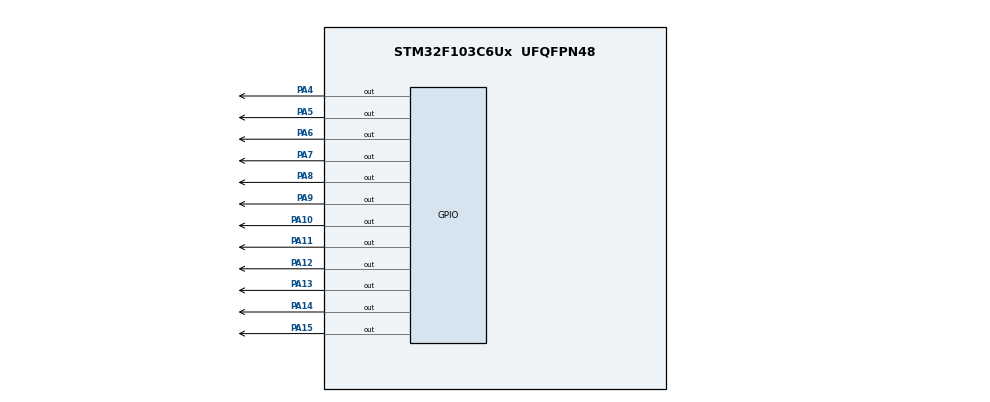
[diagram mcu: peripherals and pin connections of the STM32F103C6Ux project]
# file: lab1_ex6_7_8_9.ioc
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Mcu.Family=STM32F1
Mcu.Name=STM32F103C6Ux
Mcu.Package=UFQFPN48
NVIC.PriorityGroup=NVIC_PRIORITYGROUP_4
PA10.Signal=GPIO_Output
PA11.Signal=GPIO_Output
PA12.Signal=GPIO_Output
PA13.Signal=GPIO_Output
PA14.Signal=GPIO_Output
PA15.Signal=GPIO_Output
PA4.Signal=GPIO_Output
PA5.Signal=GPIO_Output
PA6.Signal=GPIO_Output
PA7.Signal=GPIO_Output
PA8.Signal=GPIO_Output
PA9.Signal=GPIO_Output
ProjectManager.HeapSize=0x200
ProjectManager.StackSize=0x400
ProjectManager.TargetToolchain=STM32CubeIDE
RCC.APB1Freq_Value=8000000
RCC.APB2Freq_Value=8000000
VP_SYS_VS_ND.Mode=No_Debug
board=custom

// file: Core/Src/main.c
/* USER CODE BEGIN Header */
/**
  ******************************************************************************
  * @file           : main.c
  * @brief          : Main program body
  ******************************************************************************
  * @attention
  *
  * <h2><center>&copy; Copyright (c) 2023 STMicroelectronics.
  * All rights reserved.</center></h2>
  *
  * This software component is licensed by ST under BSD 3-Clause license,
  * the "License"; You may not use this file except in compliance with the
  * License. You may obtain a copy of the License at:
  *                        opensource.org/licenses/BSD-3-Clause
  *
  ******************************************************************************
  */
/* USER CODE END Header */
#include "main.h"

void SystemClock_Config(void);
static void MX_GPIO_Init(void);
void analogClock(int num);
void clearAllClock(void);
void setNumberOnClock(int num);
void clearNumberOnClock(int num);

int main(void)
{

  /* MCU Configuration--------------------------------------------------------*/

  /* Reset of all peripherals, Initializes the Flash interface and the Systick. */
  HAL_Init();

  /* Configure the system clock */
  SystemClock_Config();

  /* Initialize all configured peripherals */
  MX_GPIO_Init();
  /* Infinite loop */
  /* USER CODE BEGIN WHILE */
  int hour = 0;
  while (1)
  {
    /* USER CODE END WHILE */
	  setNumberOnClock(hour++);
	  if(hour >= 12){
		  hour = 0;
	  }
	  HAL_Delay(1000);
  }
}

void SystemClock_Config(void)
{
  RCC_OscInitTypeDef RCC_OscInitStruct = {0};
  RCC_ClkInitTypeDef RCC_ClkInitStruct = {0};

  /** Initializes the RCC Oscillators according to the specified parameters
  * in the RCC_OscInitTypeDef structure.
  */
  RCC_OscInitStruct.OscillatorType = RCC_OSCILLATORTYPE_HSI;
  RCC_OscInitStruct.HSIState = RCC_HSI_ON;
  RCC_OscInitStruct.HSICalibrationValue = RCC_HSICALIBRATION_DEFAULT;
  RCC_OscInitStruct.PLL.PLLState = RCC_PLL_NONE;
  if (HAL_RCC_OscConfig(&RCC_OscInitStruct) != HAL_OK)
  {
    Error_Handler();
  }
  /** Initializes the CPU, AHB and APB buses clocks
  */
  RCC_ClkInitStruct.ClockType = RCC_CLOCKTYPE_HCLK|RCC_CLOCKTYPE_SYSCLK
                              |RCC_CLOCKTYPE_PCLK1|RCC_CLOCKTYPE_PCLK2;
  RCC_ClkInitStruct.SYSCLKSource = RCC_SYSCLKSOURCE_HSI;
  RCC_ClkInitStruct.AHBCLKDivider = RCC_SYSCLK_DIV1;
  RCC_ClkInitStruct.APB1CLKDivider = RCC_HCLK_DIV1;
  RCC_ClkInitStruct.APB2CLKDivider = RCC_HCLK_DIV1;

  if (HAL_RCC_ClockConfig(&RCC_ClkInitStruct, FLASH_LATENCY_0) != HAL_OK)
  {
    Error_Handler();
  }
}

static void MX_GPIO_Init(void)
{
  GPIO_InitTypeDef GPIO_InitStruct = {0};

  /* GPIO Ports Clock Enable */
  __HAL_RCC_GPIOA_CLK_ENABLE();

  /*Configure GPIO pin Output Level */
  HAL_GPIO_WritePin(GPIOA, GPIO_PIN_4|GPIO_PIN_5|GPIO_PIN_6|GPIO_PIN_7
                          |GPIO_PIN_8|GPIO_PIN_9|GPIO_PIN_10|GPIO_PIN_11
                          |GPIO_PIN_12|GPIO_PIN_13|GPIO_PIN_14|GPIO_PIN_15, GPIO_PIN_RESET);

  /*Configure GPIO pins : PA4 PA5 PA6 PA7
                           PA8 PA9 PA10 PA11
                           PA12 PA13 PA14 PA15 */
  GPIO_InitStruct.Pin = GPIO_PIN_4|GPIO_PIN_5|GPIO_PIN_6|GPIO_PIN_7
                          |GPIO_PIN_8|GPIO_PIN_9|GPIO_PIN_10|GPIO_PIN_11
                          |GPIO_PIN_12|GPIO_PIN_13|GPIO_PIN_14|GPIO_PIN_15;
  GPIO_InitStruct.Mode = GPIO_MODE_OUTPUT_PP;
  GPIO_InitStruct.Pull = GPIO_NOPULL;
  GPIO_InitStruct.Speed = GPIO_SPEED_FREQ_LOW;
  HAL_GPIO_Init(GPIOA, &GPIO_InitStruct);

}

/* USER CODE BEGIN 4 */
void analogClock(int num){
	switch(num){
		case 0:
			HAL_GPIO_WritePin(GPIOA, GPIO_PIN_4, RESET);
			HAL_GPIO_WritePin(GPIOA, GPIO_PIN_5, SET);
			HAL_GPIO_WritePin(GPIOA, GPIO_PIN_6, SET);
			HAL_GPIO_WritePin(GPIOA, GPIO_PIN_7, SET);
			HAL_GPIO_WritePin(GPIOA, GPIO_PIN_8, SET);
			HAL_GPIO_WritePin(GPIOA, GPIO_PIN_9, SET);
			HAL_GPIO_WritePin(GPIOA, GPIO_PIN_10, SET);
			HAL_GPIO_WritePin(GPIOA, GPIO_PIN_11, SET);
			HAL_GPIO_WritePin(GPIOA, GPIO_PIN_12, SET);
			HAL_GPIO_WritePin(GPIOA, GPIO_PIN_13, SET);
			HAL_GPIO_WritePin(GPIOA, GPIO_PIN_14, SET);
			HAL_GPIO_WritePin(GPIOA, GPIO_PIN_15, SET);
			break;
		case 1:
			HAL_GPIO_WritePin(GPIOA, GPIO_PIN_4, SET);
			HAL_GPIO_WritePin(GPIOA, GPIO_PIN_5, RESET);
			HAL_GPIO_WritePin(GPIOA, GPIO_PIN_6, SET);
			HAL_GPIO_WritePin(GPIOA, GPIO_PIN_7, SET);
			HAL_GPIO_WritePin(GPIOA, GPIO_PIN_8, SET);
			HAL_GPIO_WritePin(GPIOA, GPIO_PIN_9, SET);
			HAL_GPIO_WritePin(GPIOA, GPIO_PIN_10, SET);
			HAL_GPIO_WritePin(GPIOA, GPIO_PIN_11, SET);
			HAL_GPIO_WritePin(GPIOA, GPIO_PIN_12, SET);
			HAL_GPIO_WritePin(GPIOA, GPIO_PIN_13, SET);
			HAL_GPIO_WritePin(GPIOA, GPIO_PIN_14, SET);
			HAL_GPIO_WritePin(GPIOA, GPIO_PIN_15, SET);
			break;
		case 2:
			HAL_GPIO_WritePin(GPIOA, GPIO_PIN_4, SET);
			HAL_GPIO_WritePin(GPIOA, GPIO_PIN_5, SET);
			HAL_GPIO_WritePin(GPIOA, GPIO_PIN_6, RESET);
			HAL_GPIO_WritePin(GPIOA, GPIO_PIN_7, SET);
			HAL_GPIO_WritePin(GPIOA, GPIO_PIN_8, SET);
			HAL_GPIO_WritePin(GPIOA, GPIO_PIN_9, SET);
			HAL_GPIO_WritePin(GPIOA, GPIO_PIN_10, SET);
			HAL_GPIO_WritePin(GPIOA, GPIO_PIN_11, SET);
			HAL_GPIO_WritePin(GPIOA, GPIO_PIN_12, SET);
			HAL_GPIO_WritePin(GPIOA, GPIO_PIN_13, SET);
			HAL_GPIO_WritePin(GPIOA, GPIO_PIN_14, SET);
			HAL_GPIO_WritePin(GPIOA, GPIO_PIN_15, SET);
			break;
		case 3:
			HAL_GPIO_WritePin(GPIOA, GPIO_PIN_4, SET);
			HAL_GPIO_WritePin(GPIOA, GPIO_PIN_5, SET);
			HAL_GPIO_WritePin(GPIOA, GPIO_PIN_6, SET);
			HAL_GPIO_WritePin(GPIOA, GPIO_PIN_7, RESET);
			HAL_GPIO_WritePin(GPIOA, GPIO_PIN_8, SET);
			HAL_GPIO_WritePin(GPIOA, GPIO_PIN_9, SET);
			HAL_GPIO_WritePin(GPIOA, GPIO_PIN_10, SET);
			HAL_GPIO_WritePin(GPIOA, GPIO_PIN_11, SET);
			HAL_GPIO_WritePin(GPIOA, GPIO_PIN_12, SET);
			HAL_GPIO_WritePin(GPIOA, GPIO_PIN_13, SET);
			HAL_GPIO_WritePin(GPIOA, GPIO_PIN_14, SET);
			HAL_GPIO_WritePin(GPIOA, GPIO_PIN_15, SET);
			break;
		case 4:
			HAL_GPIO_WritePin(GPIOA, GPIO_PIN_4, SET);
			HAL_GPIO_WritePin(GPIOA, GPIO_PIN_5, SET);
			HAL_GPIO_WritePin(GPIOA, GPIO_PIN_6, SET);
			HAL_GPIO_WritePin(GPIOA, GPIO_PIN_7, SET);
			HAL_GPIO_WritePin(GPIOA, GPIO_PIN_8, RESET);
			HAL_GPIO_WritePin(GPIOA, GPIO_PIN_9, SET);
			HAL_GPIO_WritePin(GPIOA, GPIO_PIN_10, SET);
			HAL_GPIO_WritePin(GPIOA, GPIO_PIN_11, SET);
			HAL_GPIO_WritePin(GPIOA, GPIO_PIN_12, SET);
			HAL_GPIO_WritePin(GPIOA, GPIO_PIN_13, SET);
			HAL_GPIO_WritePin(GPIOA, GPIO_PIN_14, SET);
			HAL_GPIO_WritePin(GPIOA, GPIO_PIN_15, SET);
			break;
		case 5:
			HAL_GPIO_WritePin(GPIOA, GPIO_PIN_4, SET);
			HAL_GPIO_WritePin(GPIOA, GPIO_PIN_5, SET);
			HAL_GPIO_WritePin(GPIOA, GPIO_PIN_6, SET);
			HAL_GPIO_WritePin(GPIOA, GPIO_PIN_7, SET);
			HAL_GPIO_WritePin(GPIOA, GPIO_PIN_8, SET);
			HAL_GPIO_WritePin(GPIOA, GPIO_PIN_9, RESET);
			HAL_GPIO_WritePin(GPIOA, GPIO_PIN_10, SET);
			HAL_GPIO_WritePin(GPIOA, GPIO_PIN_11, SET);
			HAL_GPIO_WritePin(GPIOA, GPIO_PIN_12, SET);
			HAL_GPIO_WritePin(GPIOA, GPIO_PIN_13, SET);
			HAL_GPIO_WritePin(GPIOA, GPIO_PIN_14, SET);
			HAL_GPIO_WritePin(GPIOA, GPIO_PIN_15, SET);
			break;
		case 6:
			HAL_GPIO_WritePin(GPIOA, GPIO_PIN_4, SET);
			HAL_GPIO_WritePin(GPIOA, GPIO_PIN_5, SET);
			HAL_GPIO_WritePin(GPIOA, GPIO_PIN_6, SET);
			HAL_GPIO_WritePin(GPIOA, GPIO_PIN_7, SET);
			HAL_GPIO_WritePin(GPIOA, GPIO_PIN_8, SET);
			HAL_GPIO_WritePin(GPIOA, GPIO_PIN_9, SET);
			HAL_GPIO_WritePin(GPIOA, GPIO_PIN_10, RESET);
			HAL_GPIO_WritePin(GPIOA, GPIO_PIN_11, SET);
			HAL_GPIO_WritePin(GPIOA, GPIO_PIN_12, SET);
			HAL_GPIO_WritePin(GPIOA, GPIO_PIN_13, SET);
			HAL_GPIO_WritePin(GPIOA, GPIO_PIN_14, SET);
			HAL_GPIO_WritePin(GPIOA, GPIO_PIN_15, SET);
			break;
		case 7:
			HAL_GPIO_WritePin(GPIOA, GPIO_PIN_4, SET);
			HAL_GPIO_WritePin(GPIOA, GPIO_PIN_5, SET);
			HAL_GPIO_WritePin(GPIOA, GPIO_PIN_6, SET);
			HAL_GPIO_WritePin(GPIOA, GPIO_PIN_7, SET);
			HAL_GPIO_WritePin(GPIOA, GPIO_PIN_8, SET);
			HAL_GPIO_WritePin(GPIOA, GPIO_PIN_9, SET);
			HAL_GPIO_WritePin(GPIOA, GPIO_PIN_10, SET);
			HAL_GPIO_WritePin(GPIOA, GPIO_PIN_11, RESET);
			HAL_GPIO_WritePin(GPIOA, GPIO_PIN_12, SET);
			HAL_GPIO_WritePin(GPIOA, GPIO_PIN_13, SET);
			HAL_GPIO_WritePin(GPIOA, GPIO_PIN_14, SET);
			HAL_GPIO_WritePin(GPIOA, GPIO_PIN_15, SET);
			break;
		case 8:
			HAL_GPIO_WritePin(GPIOA, GPIO_PIN_4, SET);
			HAL_GPIO_WritePin(GPIOA, GPIO_PIN_5, SET);
			HAL_GPIO_WritePin(GPIOA, GPIO_PIN_6, SET);
			HAL_GPIO_WritePin(GPIOA, GPIO_PIN_7, SET);
			HAL_GPIO_WritePin(GPIOA, GPIO_PIN_8, SET);
			HAL_GPIO_WritePin(GPIOA, GPIO_PIN_9, SET);
			HAL_GPIO_WritePin(GPIOA, GPIO_PIN_10, SET);
			HAL_GPIO_WritePin(GPIOA, GPIO_PIN_11, SET);
			HAL_GPIO_WritePin(GPIOA, GPIO_PIN_12, RESET);
			HAL_GPIO_WritePin(GPIOA, GPIO_PIN_13, SET);
			HAL_GPIO_WritePin(GPIOA, GPIO_PIN_14, SET);
			HAL_GPIO_WritePin(GPIOA, GPIO_PIN_15, SET);
			break;
		case 9:
			HAL_GPIO_WritePin(GPIOA, GPIO_PIN_4, SET);
			HAL_GPIO_WritePin(GPIOA, GPIO_PIN_5, SET);
			HAL_GPIO_WritePin(GPIOA, GPIO_PIN_6, SET);
			HAL_GPIO_WritePin(GPIOA, GPIO_PIN_7, SET);
			HAL_GPIO_WritePin(GPIOA, GPIO_PIN_8, SET);
			HAL_GPIO_WritePin(GPIOA, GPIO_PIN_9, SET);
			HAL_GPIO_WritePin(GPIOA, GPIO_PIN_10, SET);
			HAL_GPIO_WritePin(GPIOA, GPIO_PIN_11, SET);
			HAL_GPIO_WritePin(GPIOA, GPIO_PIN_12, SET);
			HAL_GPIO_WritePin(GPIOA, GPIO_PIN_13, RESET);
			HAL_GPIO_WritePin(GPIOA, GPIO_PIN_14, SET);
			HAL_GPIO_WritePin(GPIOA, GPIO_PIN_15, SET);
			break;
		case 10:
			HAL_GPIO_WritePin(GPIOA, GPIO_PIN_4, SET);
			HAL_GPIO_WritePin(GPIOA, GPIO_PIN_5, SET);
			HAL_GPIO_WritePin(GPIOA, GPIO_PIN_6, SET);
			HAL_GPIO_WritePin(GPIOA, GPIO_PIN_7, SET);
			HAL_GPIO_WritePin(GPIOA, GPIO_PIN_8, SET);
			HAL_GPIO_WritePin(GPIOA, GPIO_PIN_9, SET);
			HAL_GPIO_WritePin(GPIOA, GPIO_PIN_10, SET);
			HAL_GPIO_WritePin(GPIOA, GPIO_PIN_11, SET);
			HAL_GPIO_WritePin(GPIOA, GPIO_PIN_12, SET);
			HAL_GPIO_WritePin(GPIOA, GPIO_PIN_13, SET);
			HAL_GPIO_WritePin(GPIOA, GPIO_PIN_14, RESET);
			HAL_GPIO_WritePin(GPIOA, GPIO_PIN_15, SET);
			break;
		case 11:
			HAL_GPIO_WritePin(GPIOA, GPIO_PIN_4, SET);
			HAL_GPIO_WritePin(GPIOA, GPIO_PIN_5, SET);
			HAL_GPIO_WritePin(GPIOA, GPIO_PIN_6, SET);
			HAL_GPIO_WritePin(GPIOA, GPIO_PIN_7, SET);
			HAL_GPIO_WritePin(GPIOA, GPIO_PIN_8, SET);
			HAL_GPIO_WritePin(GPIOA, GPIO_PIN_9, SET);
			HAL_GPIO_WritePin(GPIOA, GPIO_PIN_10, SET);
			HAL_GPIO_WritePin(GPIOA, GPIO_PIN_11, SET);
			HAL_GPIO_WritePin(GPIOA, GPIO_PIN_12, SET);
			HAL_GPIO_WritePin(GPIOA, GPIO_PIN_13, SET);
			HAL_GPIO_WritePin(GPIOA, GPIO_PIN_14, SET);
			HAL_GPIO_WritePin(GPIOA, GPIO_PIN_15, RESET);
			break;
		default:
			break;
	}
}

void clearAllClock(){
	HAL_GPIO_WritePin(GPIOA, GPIO_PIN_4, SET);
	HAL_GPIO_WritePin(GPIOA, GPIO_PIN_5, SET);
	HAL_GPIO_WritePin(GPIOA, GPIO_PIN_6, SET);
	HAL_GPIO_WritePin(GPIOA, GPIO_PIN_7, SET);
	HAL_GPIO_WritePin(GPIOA, GPIO_PIN_8, SET);
	HAL_GPIO_WritePin(GPIOA, GPIO_PIN_9, SET);
	HAL_GPIO_WritePin(GPIOA, GPIO_PIN_10, SET);
	HAL_GPIO_WritePin(GPIOA, GPIO_PIN_11, SET);
	HAL_GPIO_WritePin(GPIOA, GPIO_PIN_12, SET);
	HAL_GPIO_WritePin(GPIOA, GPIO_PIN_13, SET);
	HAL_GPIO_WritePin(GPIOA, GPIO_PIN_14, SET);
	HAL_GPIO_WritePin(GPIOA, GPIO_PIN_15, SET);
}

void setNumberOnClock(int num){
	switch(num){
		case 0:
			HAL_GPIO_WritePin(GPIOA, GPIO_PIN_4, RESET);
			break;
		case 1:
			HAL_GPIO_WritePin(GPIOA, GPIO_PIN_5, RESET);
			break;
		case 2:
			HAL_GPIO_WritePin(GPIOA, GPIO_PIN_6, RESET);
			break;
		case 3:
			HAL_GPIO_WritePin(GPIOA, GPIO_PIN_7, RESET);
			break;
		case 4:
			HAL_GPIO_WritePin(GPIOA, GPIO_PIN_8, RESET);
			break;
		case 5:
			HAL_GPIO_WritePin(GPIOA, GPIO_PIN_9, RESET);
			break;
		case 6:
			HAL_GPIO_WritePin(GPIOA, GPIO_PIN_10, RESET);
			break;
		case 7:
			HAL_GPIO_WritePin(GPIOA, GPIO_PIN_11, RESET);
			break;
		case 8:
			HAL_GPIO_WritePin(GPIOA, GPIO_PIN_12, RESET);
			break;
		case 9:
			HAL_GPIO_WritePin(GPIOA, GPIO_PIN_13, RESET);
			break;
		case 10:
			HAL_GPIO_WritePin(GPIOA, GPIO_PIN_14, RESET);
			break;
		case 11:
			HAL_GPIO_WritePin(GPIOA, GPIO_PIN_15, RESET);
			break;
		default:
			break;
	}
}

void clearNumberOnClock(int num){
	switch(num){
		case 0:
			HAL_GPIO_WritePin(GPIOA, GPIO_PIN_4, 1);
			break;
		case 1:
			HAL_GPIO_WritePin(GPIOA, GPIO_PIN_5, 1);
			break;
		case 2:
			HAL_GPIO_WritePin(GPIOA, GPIO_PIN_6, 1);
			break;
		case 3:
			HAL_GPIO_WritePin(GPIOA, GPIO_PIN_7, 1);
			break;
		case 4:
			HAL_GPIO_WritePin(GPIOA, GPIO_PIN_8, 1);
			break;
		case 5:
			HAL_GPIO_WritePin(GPIOA, GPIO_PIN_9, 1);
			break;
		case 6:
			HAL_GPIO_WritePin(GPIOA, GPIO_PIN_10, 1);
			break;
		case 7:
			HAL_GPIO_WritePin(GPIOA, GPIO_PIN_11, 1);
			break;
		case 8:
			HAL_GPIO_WritePin(GPIOA, GPIO_PIN_12, 1);
			break;
		case 9:
			HAL_GPIO_WritePin(GPIOA, GPIO_PIN_13, 1);
			break;
		case 10:
			HAL_GPIO_WritePin(GPIOA, GPIO_PIN_14, 1);
			break;
		case 11:
			HAL_GPIO_WritePin(GPIOA, GPIO_PIN_15, 1);
			break;
		default:
			break;
	}
}

/* USER CODE END 4 */

void Error_Handler(void)
{
  __disable_irq();
  while (1)
  {
  }
}

/************************ (C) COPYRIGHT STMicroelectronics *****END OF FILE****/
